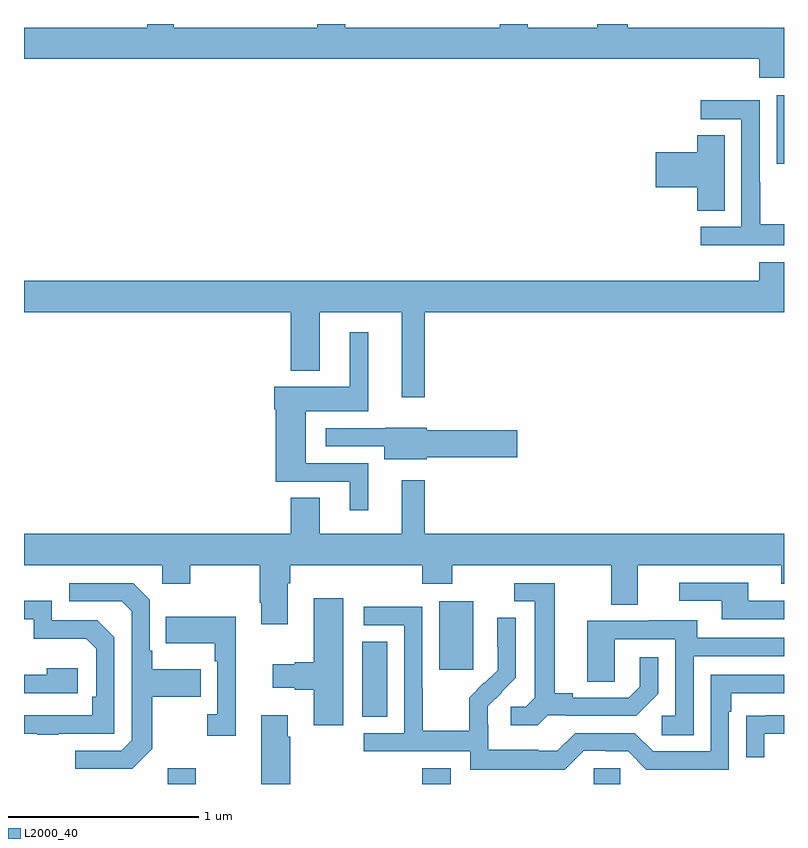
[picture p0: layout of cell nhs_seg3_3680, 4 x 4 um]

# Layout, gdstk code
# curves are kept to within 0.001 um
import gdstk
lib = gdstk.Library(unit=1e-6, precision=1e-09)
def R(c, l, rs):  # rectangles x0, y0, x1, y1
    for r in rs: c.add(gdstk.rectangle(r[:2], r[2:], *l))
def P(c, l, *ps):  # polygons
    for p in ps: c.add(gdstk.Polygon(p, *l))
L2000_40 = (2000, 40)

nhs_seg3_3680 = lib.new_cell('nhs_seg3_3680')
R(nhs_seg3_3680, L2000_40, [(301.757,730.4,301.905,730.483), (303.095,730.4,303.247,730.483), (303.999,730.4,304.137,730.482), (302.78,730.753,302.911,731.15), (303.185,731.001,303.364,731.362), (304.961,733.665,305,734.026)])
P(nhs_seg3_3680, L2000_40, [(304.178,734.4),(304.018,734.4),(304.018,734.38),(303.651,734.38),(303.651,734.4),(303.504,734.4),(303.504,734.38),(302.691,734.38),(302.691,734.4),(302.543,734.4),(302.543,734.38),(301.789,734.38),(301.789,734.4),(301.649,734.4),(301.649,734.38),(301,734.38),(301,734.216),(304.871,734.216),(304.871,734.117),(305,734.117),(305,734.38),(304.178,734.38)],
  [(305,733.345),(304.875,733.345),(304.875,733.568),(304.872,733.568),(304.872,733.998),(304.563,733.998),(304.563,733.899),(304.776,733.899),(304.776,733.332),(304.563,733.332),(304.563,733.236),(305,733.236)],
  [(304.687,733.814),(304.544,733.814),(304.544,733.724),(304.326,733.724),(304.326,733.541),(304.544,733.541),(304.544,733.417),(304.687,733.417)],
  [(301,732.884),(302.405,732.884),(302.405,732.575),(302.557,732.575),(302.557,732.884),(302.987,732.884),(302.987,732.435),(303.109,732.435),(303.109,732.884),(305,732.884),(305,733.147),(304.871,733.147),(304.871,733.048),(301,733.048)],
  [(302.812,732.087),(302.482,732.087),(302.482,732.362),(302.812,732.362),(302.812,732.778),(302.714,732.778),(302.714,732.49),(302.318,732.49),(302.318,732.372),(302.324,732.372),(302.324,731.991),(302.714,731.991),(302.714,731.841),(302.812,731.841)],
  [(303.12,732.121),(303.595,732.121),(303.595,732.263),(303.12,732.263),(303.12,732.274),(302.901,732.274),(302.901,732.273),(302.589,732.273),(302.589,732.177),(302.897,732.177),(302.897,732.11),(303.12,732.11)],
  [(303.095,731.453),(303.255,731.453),(303.255,731.552),(304.091,731.552),(304.091,731.344),(304.231,731.344),(304.231,731.552),(304.985,731.552),(304.985,731.453),(305,731.453),(305,731.716),(303.109,731.716),(303.109,731.998),(302.987,731.998),(302.987,731.716),(302.557,731.716),(302.557,731.906),(302.405,731.906),(302.405,731.716),(301,731.716),(301,731.552),(301.728,731.552),(301.728,731.453),(301.875,731.453),(301.875,731.552),(302.242,731.552),(302.242,731.353),(302.249,731.353),(302.249,731.241),(302.389,731.241),(302.389,731.456),(302.402,731.456),(302.402,731.552),(303.095,731.552)],
  [(305,731.364),(304.813,731.364),(304.813,731.46),(304.449,731.46),(304.449,731.364),(304.673,731.364),(304.673,731.268),(305,731.268)],
  [(303.756,730.761),(303.85,730.761),(303.85,730.758),(304.222,730.758),(304.338,730.874),(304.338,731.068),(304.241,731.068),(304.241,730.911),(304.184,730.854),(303.889,730.854),(303.889,730.877),(303.793,730.877),(303.793,731.457),(303.579,731.457),(303.579,731.361),(303.689,731.361),(303.689,730.853),(303.642,730.806),(303.561,730.806),(303.561,730.709),(303.704,730.709)],
  [(301.675,730.585),(301.675,730.858),(301.931,730.858),(301.931,731.005),(301.675,731.005),(301.675,731.101),(301.662,731.101),(301.662,731.37),(301.575,731.457),(301.239,731.457),(301.239,731.361),(301.515,731.361),(301.566,731.31),(301.566,730.629),(301.512,730.575),(301.269,730.575),(301.269,730.479),(301.569,730.479)],
  [(302.68,731.377),(302.525,731.377),(302.525,731.042),(302.426,731.042),(302.426,731.029),(302.31,731.029),(302.31,730.907),(302.426,730.907),(302.426,730.895),(302.525,730.895),(302.525,730.71),(302.68,730.71)],
  [(301.181,730.665),(301.476,730.665),(301.476,731.172),(301.386,731.262),(301.146,731.262),(301.146,731.364),(301,731.364),(301,731.268),(301.05,731.268),(301.05,731.165),(301.327,731.165),(301.38,731.112),(301.38,730.858),(301.36,730.858),(301.36,730.761),(301,730.761),(301,730.665),(301.069,730.665),(301.069,730.66),(301.181,730.66)],
  [(303.945,730.575),(304.061,730.575),(304.061,730.572),(304.179,730.572),(304.275,730.476),(304.71,730.476),(304.71,730.781),(304.723,730.781),(304.723,730.878),(305,730.878),(305,730.974),(304.614,730.974),(304.614,730.572),(304.311,730.572),(304.215,730.668),(303.9,730.668),(303.807,730.575),(303.707,730.575),(303.707,730.579),(303.444,730.579),(303.444,730.713),(303.442,730.713),(303.442,730.81),(303.588,730.958),(303.588,731.276),(303.492,731.276),(303.492,731.122),(303.494,731.122),(303.494,731),(303.423,730.929),(303.42,730.932),(303.343,730.855),(303.343,730.681),(303.099,730.681),(303.099,730.904),(303.096,730.904),(303.096,731.334),(302.787,731.334),(302.787,731.235),(303,731.235),(303,730.668),(302.787,730.668),(302.787,730.572),(303.348,730.572),(303.348,730.475),(303.845,730.475)],
  [(302.114,731.281),(301.747,731.281),(301.747,731.141),(302.004,731.141),(302.004,731.045),(302.016,731.045),(302.016,730.766),(301.965,730.766),(301.965,730.653),(302.114,730.653)],
  [(304.524,731.073),(305,731.073),(305,731.169),(304.543,731.169),(304.543,731.263),(304.289,731.263),(304.289,731.259),(303.965,731.259),(303.965,730.939),(304.11,730.939),(304.11,731.163),(304.428,731.163),(304.428,730.758),(304.356,730.758),(304.356,730.657),(304.524,730.657)],
  [(301.282,731.008),(301.121,731.008),(301.121,730.974),(301,730.974),(301,730.878),(301.282,730.878)],
  [(302.402,730.649),(302.389,730.649),(302.389,730.762),(302.249,730.762),(302.249,730.4),(302.402,730.4)],
  [(304.897,730.665),(305,730.665),(305,730.761),(304.903,730.761),(304.903,730.76),(304.801,730.76),(304.801,730.542),(304.897,730.542)])

lib.write_gds('nhs_seg3_3680.gds')
